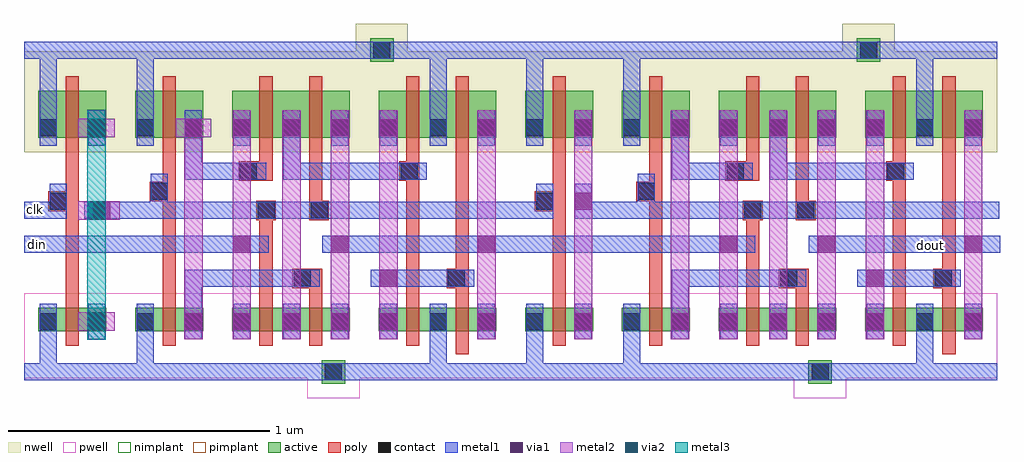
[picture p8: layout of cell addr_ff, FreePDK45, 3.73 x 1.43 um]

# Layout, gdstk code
from math import pi, radians
import gdstk
lib = gdstk.Library(unit=1e-6, precision=5e-10)
def R(c, l, rs):  # rectangles x0, y0, x1, y1
    for r in rs: c.add(gdstk.rectangle(r[:2], r[2:], *l))
active = (1, 0)
pwell = (2, 0)
nwell = (3, 0)
nimplant = (4, 0)
pimplant = (5, 0)
poly = (9, 0)
contact = (10, 0)
metal1 = (11, 0)
via1 = (12, 0)
metal2 = (13, 0)
via2 = (14, 0)
metal3 = (15, 0)

dcont_29 = lib.new_cell('dcont_29')
R(dcont_29, active, [(-0.0375,0.03,0.0375,0.105)])
R(dcont_29, contact, [(-0.0325,0.035,0.0325,0.1)])
R(dcont_29, metal1, [(-0.0325,0,0.0325,0.135)])

pmos_vtl_16 = lib.new_cell('pmos_vtl_16')
R(pmos_vtl_16, active, [(-0.105,0,0.12,0.18), (-0.105,0,-0.03,0.18), (-0.105,0,-0.03,0.18), (0.05,0,0.12,0.18)])
R(pmos_vtl_16, nwell, [(-0.16,-0.055,0.175,0.235)])
R(pmos_vtl_16, pimplant, [(-0.105,0,0.12,0.18)])
R(pmos_vtl_16, poly, [(0,-0.055,0.05,0), (0,-0.055,0.05,0.235), (0,0.18,0.05,0.235)])
pmos_vtl_16.add(gdstk.Reference(dcont_29, (-0.0675,-0.03)))
pmos_vtl_16.add(gdstk.Label('l = 0.05', (0.06,0.09), layer=239, texttype=0))
pmos_vtl_16.add(gdstk.Label('w = 0.18', (0.025,0.245), layer=239, texttype=0))

pmos_vtl_8 = lib.new_cell('pmos_vtl_8')
R(pmos_vtl_8, active, [(-0.105,0,0.155,0.18), (-0.105,0,-0.03,0.18), (-0.105,0,-0.03,0.18), (0.08,0,0.155,0.18), (0.08,0,0.155,0.18)])
R(pmos_vtl_8, nwell, [(-0.16,-0.055,0.21,0.235)])
R(pmos_vtl_8, pimplant, [(-0.105,0,0.155,0.18)])
R(pmos_vtl_8, poly, [(0,-0.055,0.05,0), (0,-0.055,0.05,0.235), (0,0.18,0.05,0.235)])
pmos_vtl_8.add(gdstk.Reference(dcont_29, (0.1175,-0.03)))
pmos_vtl_8.add(gdstk.Reference(dcont_29, (-0.0675,-0.03)))
pmos_vtl_8.add(gdstk.Label('l = 0.05', (0.06,0.09), layer=239, texttype=0))
pmos_vtl_8.add(gdstk.Label('w = 0.18', (0.025,0.245), layer=239, texttype=0))

nmos_vtl_6 = lib.new_cell('nmos_vtl_6')
R(nmos_vtl_6, active, [(-0.105,0,0.155,0.09), (-0.105,0,-0.03,0.09), (-0.105,0,-0.03,0.09), (0.08,0,0.155,0.09), (0.08,0,0.155,0.09)])
R(nmos_vtl_6, pwell, [(-0.16,-0.055,0.21,0.145)])
R(nmos_vtl_6, nimplant, [(-0.105,0,0.155,0.09)])
R(nmos_vtl_6, poly, [(0,-0.055,0.05,0), (0,-0.055,0.05,0.145), (0,0.09,0.05,0.145)])
nmos_vtl_6.add(gdstk.Reference(dcont_29, (0.1175,-0.03)))
nmos_vtl_6.add(gdstk.Reference(dcont_29, (-0.0675,-0.03)))
nmos_vtl_6.add(gdstk.Label('l = 0.05', (0.06,0.045), layer=239, texttype=0))
nmos_vtl_6.add(gdstk.Label('w = 0.09', (0.025,0.155), layer=239, texttype=0))

nmos_vtl_17 = lib.new_cell('nmos_vtl_17')
R(nmos_vtl_17, active, [(-0.105,0,0.12,0.09), (-0.105,0,-0.03,0.09), (-0.105,0,-0.03,0.09), (0.05,0,0.12,0.09)])
R(nmos_vtl_17, pwell, [(-0.16,-0.055,0.175,0.145)])
R(nmos_vtl_17, nimplant, [(-0.105,0,0.12,0.09)])
R(nmos_vtl_17, poly, [(0,-0.055,0.05,0), (0,-0.055,0.05,0.145), (0,0.09,0.05,0.145)])
nmos_vtl_17.add(gdstk.Reference(dcont_29, (-0.0675,-0.03)))
nmos_vtl_17.add(gdstk.Label('l = 0.05', (0.06,0.045), layer=239, texttype=0))
nmos_vtl_17.add(gdstk.Label('w = 0.09', (0.025,0.155), layer=239, texttype=0))

m2_m1_via = lib.new_cell('M2_M1_via')
R(m2_m1_via, metal1, [(-0.0675,-0.0325,0.0675,0.0325)])
R(m2_m1_via, via1, [(-0.0325,-0.0325,0.0325,0.0325)])
R(m2_m1_via, metal2, [(-0.035,-0.0675,0.035,0.0675)])

m3_m2_via = lib.new_cell('M3_M2_via')
R(m3_m2_via, metal2, [(-0.035,-0.07,0.035,0.07)])
R(m3_m2_via, via2, [(-0.035,-0.035,0.035,0.035)])
R(m3_m2_via, metal3, [(-0.07,-0.035,0.07,0.035)])

ntap_0 = lib.new_cell('NTAP_0')
R(ntap_0, active, [(-0.045,-0.045,0.045,0.045)])
R(ntap_0, nwell, [(-0.1,-0.1,0.1,0.1)])
R(ntap_0, nimplant, [(-0.045,-0.045,0.045,0.045)])
R(ntap_0, contact, [(-0.0325,-0.0325,0.0325,0.0325)])
R(ntap_0, metal1, [(-0.0325,-0.0675,0.0325,0.0675)])

ptap_1 = lib.new_cell('PTAP_1')
R(ptap_1, active, [(-0.045,-0.045,0.045,0.045)])
R(ptap_1, pwell, [(-0.1,-0.1,0.1,0.1)])
R(ptap_1, pimplant, [(-0.045,-0.045,0.045,0.045)])
R(ptap_1, contact, [(-0.0325,-0.0325,0.0325,0.0325)])
R(ptap_1, metal1, [(-0.0325,-0.0675,0.0325,0.0675)])

m1_poly_3 = lib.new_cell('M1_POLY_3')
R(m1_poly_3, poly, [(-0.0375,-0.0375,0.0375,0.0375)])
R(m1_poly_3, contact, [(-0.0325,-0.0325,0.0325,0.0325)])
R(m1_poly_3, metal1, [(-0.0325,-0.0675,0.0325,0.0675)])

m2_m1_4 = lib.new_cell('M2_M1_4')
R(m2_m1_4, metal1, [(-0.0325,-0.0675,0.0325,0.0675)])
R(m2_m1_4, via1, [(-0.0325,-0.0325,0.0325,0.0325)])
R(m2_m1_4, metal2, [(-0.035,-0.0675,0.035,0.0675)])

addr_ff = lib.new_cell('addr_ff')
R(addr_ff, pwell, [(0,-0.025,1.86,0.3), (1.86,-0.025,3.72,0.3)])
R(addr_ff, nwell, [(0,0.84,1.86,1.225), (1.86,0.84,3.72,1.225)])
R(addr_ff, poly, [(0.8925,0.73,0.9025,0.805), (2.7525,0.73,2.7625,0.805)])
R(addr_ff, metal1, [(0.65,-0.025,0.7225,0.025), (0.615,0.235,0.68,0.39), (2.475,0.235,2.54,0.39), (0.6225,0.325,1.13,0.39), (2.4825,0.325,2.99,0.39), (0,0.455,0.935,0.52), (1.14,0.455,1.87,0.52), (1.86,0.455,2.795,0.52), (3,0.455,3.73,0.52), (1.1825,0.585,1.8675,0.65), (3.0425,0.585,3.7275,0.65), (0.615,0.735,0.68,0.865), (0.615,0.735,0.925,0.8), (0.99,0.735,1.41,0.8), (0.99,0.735,1.055,0.8725), (2.475,0.735,2.54,0.865), (2.475,0.735,2.785,0.8), (2.85,0.735,3.27,0.8), (2.85,0.735,2.915,0.8725), (0.5425,1.21,0.6625,1.26)])
R(addr_ff, metal2, [(2.1025,0.225,2.1725,0.8775)])
R(addr_ff, metal3, [(0.2425,0.1275,0.3125,0.9925)])
addr_ff.add(gdstk.FlexPath([(2.8825,0.895),(2.8825,0.245)], 0.07, ends="flush", simple_path=True, layer=13, datatype=0))  # metal2
addr_ff.add(gdstk.FlexPath([(2.5075,0.8925),(2.5075,0.2075)], 0.07, ends="flush", simple_path=True, layer=13, datatype=0))  # metal2
addr_ff.add(gdstk.FlexPath([(2.6925,0.8925),(2.6925,0.185)], 0.07, ends="flush", simple_path=True, layer=13, datatype=0))  # metal2
addr_ff.add(gdstk.FlexPath([(0.8325,0.8925),(0.8325,0.185)], 0.07, ends="flush", simple_path=True, layer=13, datatype=0))  # metal2
addr_ff.add(gdstk.FlexPath([(1.0225,0.895),(1.0225,0.245)], 0.07, ends="flush", simple_path=True, layer=13, datatype=0))  # metal2
addr_ff.add(gdstk.FlexPath([(1.2075,0.8925),(1.2075,0.2125)], 0.07, ends="flush", simple_path=True, layer=13, datatype=0))  # metal2
addr_ff.add(gdstk.FlexPath([(3.2525,0.8925),(3.2525,0.1475)], 0.07, ends="flush", simple_path=True, layer=13, datatype=0))  # metal2
addr_ff.add(gdstk.FlexPath([(3.6275,0.8925),(3.6275,0.1475)], 0.07, ends="flush", simple_path=True, layer=13, datatype=0))  # metal2
addr_ff.add(gdstk.FlexPath([(3.0675,0.8925),(3.0675,0.2125)], 0.07, ends="flush", simple_path=True, layer=13, datatype=0))  # metal2
addr_ff.add(gdstk.FlexPath([(1.7675,0.8925),(1.7675,0.1475)], 0.07, ends="flush", simple_path=True, layer=13, datatype=0))  # metal2
addr_ff.add(gdstk.FlexPath([(0.6475,0.8925),(0.6475,0.2075)], 0.07, ends="flush", simple_path=True, layer=13, datatype=0))  # metal2
addr_ff.add(gdstk.FlexPath([(1.3925,0.8925),(1.3925,0.1475)], 0.07, ends="flush", simple_path=True, layer=13, datatype=0))  # metal2
addr_ff.add(gdstk.FlexPath([(2.3225,0.9475),(2.3225,1.2175)], 0.065, ends="flush", simple_path=True, layer=11, datatype=0))  # metal1
addr_ff.add(gdstk.FlexPath([(0.245,0.6175),(0.9,0.6175)], 0.065, ends="flush", simple_path=True, layer=11, datatype=0))  # metal1
addr_ff.add(gdstk.FlexPath([(0.0925,0.88),(0.0925,1.225)], 0.065, ends="flush", simple_path=True, layer=11, datatype=0))  # metal1
addr_ff.add(gdstk.FlexPath([(0.0925,-0.0325),(0.0925,0.215)], 0.065, ends="flush", simple_path=True, layer=11, datatype=0))  # metal1
addr_ff.add(gdstk.FlexPath([(0.4625,0.9475),(0.4625,1.2175)], 0.065, ends="flush", simple_path=True, layer=11, datatype=0))  # metal1
addr_ff.add(gdstk.FlexPath([(0.9575,0.6175),(1.105,0.6175)], 0.065, ends="flush", simple_path=True, layer=11, datatype=0))  # metal1
addr_ff.add(gdstk.FlexPath([(0.4625,-0.01),(0.4625,0.26)], 0.065, ends="flush", simple_path=True, layer=11, datatype=0))  # metal1
addr_ff.add(gdstk.FlexPath([(0.43,1.23),(1.86,1.23)], 0.065, ends="flush", simple_path=True, layer=11, datatype=0))  # metal1
addr_ff.add(gdstk.FlexPath([(1.6,0.3575),(1.36,0.3575)], 0.065, ends="flush", simple_path=True, layer=11, datatype=0))  # metal1
addr_ff.add(gdstk.FlexPath([(0,0),(1.86,0)], 0.065, ends="flush", simple_path=True, layer=11, datatype=0))  # metal1
addr_ff.add(gdstk.FlexPath([(1.5825,-0.01),(1.5825,0.26)], 0.065, ends="flush", simple_path=True, layer=11, datatype=0))  # metal1
addr_ff.add(gdstk.FlexPath([(2.8175,0.6175),(2.965,0.6175)], 0.065, ends="flush", simple_path=True, layer=11, datatype=0))  # metal1
addr_ff.add(gdstk.FlexPath([(3.4425,0.9475),(3.4425,1.2175)], 0.065, ends="flush", simple_path=True, layer=11, datatype=0))  # metal1
addr_ff.add(gdstk.FlexPath([(2.29,1.23),(1.86,1.23)], 0.065, ends="flush", simple_path=True, layer=11, datatype=0))  # metal1
addr_ff.add(gdstk.FlexPath([(1.86,0),(3.72,0)], 0.065, ends="flush", simple_path=True, layer=11, datatype=0))  # metal1
addr_ff.add(gdstk.FlexPath([(2.105,0.6175),(2.76,0.6175)], 0.065, ends="flush", simple_path=True, layer=11, datatype=0))  # metal1
addr_ff.add(gdstk.FlexPath([(1.86,0),(3.72,0)], 0.065, ends="flush", simple_path=True, layer=11, datatype=0))  # metal1
addr_ff.add(gdstk.FlexPath([(1.9525,0.88),(1.9525,1.225)], 0.065, ends="flush", simple_path=True, layer=11, datatype=0))  # metal1
addr_ff.add(gdstk.FlexPath([(0.43,1.23),(0,1.23)], 0.065, ends="flush", simple_path=True, layer=11, datatype=0))  # metal1
addr_ff.add(gdstk.FlexPath([(1.86,0.6175),(2.0225,0.6175)], 0.065, ends="flush", simple_path=True, layer=11, datatype=0))  # metal1
addr_ff.add(gdstk.FlexPath([(1.9525,-0.0325),(1.9525,0.215)], 0.065, ends="flush", simple_path=True, layer=11, datatype=0))  # metal1
addr_ff.add(gdstk.FlexPath([(2.3225,-0.01),(2.3225,0.26)], 0.065, ends="flush", simple_path=True, layer=11, datatype=0))  # metal1
addr_ff.add(gdstk.FlexPath([(1.5825,0.9475),(1.5825,1.2175)], 0.065, ends="flush", simple_path=True, layer=11, datatype=0))  # metal1
addr_ff.add(gdstk.FlexPath([(0,0),(1.86,0)], 0.065, ends="flush", simple_path=True, layer=11, datatype=0))  # metal1
addr_ff.add(gdstk.FlexPath([(3.46,0.3575),(3.22,0.3575)], 0.065, ends="flush", simple_path=True, layer=11, datatype=0))  # metal1
addr_ff.add(gdstk.FlexPath([(3.4425,-0.01),(3.4425,0.26)], 0.065, ends="flush", simple_path=True, layer=11, datatype=0))  # metal1
addr_ff.add(gdstk.FlexPath([(2.29,1.23),(3.72,1.23)], 0.065, ends="flush", simple_path=True, layer=11, datatype=0))  # metal1
addr_ff.add(gdstk.FlexPath([(0,0.6175),(0.1625,0.6175)], 0.065, ends="flush", simple_path=True, layer=11, datatype=0))  # metal1
addr_ff.add(gdstk.FlexPath([(2.785,0.2525),(2.785,0.64)], 0.05, ends="flush", simple_path=True, layer=9, datatype=0))  # poly
addr_ff.add(gdstk.FlexPath([(2.045,0.855),(2.045,0.285)], 0.05, ends="flush", simple_path=True, layer=9, datatype=0))  # poly
addr_ff.add(gdstk.FlexPath([(0.555,0.855),(0.555,0.2825)], 0.05, ends="flush", simple_path=True, layer=9, datatype=0))  # poly
addr_ff.add(gdstk.FlexPath([(1.485,0.855),(1.485,0.1075)], 0.05, ends="flush", simple_path=True, layer=9, datatype=0))  # poly
addr_ff.add(gdstk.FlexPath([(0.925,0.85),(0.925,0.73)], 0.05, ends="flush", simple_path=True, layer=9, datatype=0))  # poly
addr_ff.add(gdstk.FlexPath([(0.185,0.855),(0.185,0.285)], 0.05, ends="flush", simple_path=True, layer=9, datatype=0))  # poly
addr_ff.add(gdstk.FlexPath([(1.115,0.285),(1.115,0.395)], 0.05, ends="flush", simple_path=True, layer=9, datatype=0))  # poly
addr_ff.add(gdstk.FlexPath([(2.975,0.855),(2.975,0.6)], 0.05, ends="flush", simple_path=True, layer=9, datatype=0))  # poly
addr_ff.add(gdstk.FlexPath([(2.415,0.855),(2.415,0.2825)], 0.05, ends="flush", simple_path=True, layer=9, datatype=0))  # poly
addr_ff.add(gdstk.FlexPath([(3.535,0.855),(3.535,0.0675)], 0.05, ends="flush", simple_path=True, layer=9, datatype=0))  # poly
addr_ff.add(gdstk.FlexPath([(1.675,0.855),(1.675,0.0675)], 0.05, ends="flush", simple_path=True, layer=9, datatype=0))  # poly
addr_ff.add(gdstk.FlexPath([(1.115,0.855),(1.115,0.6)], 0.05, ends="flush", simple_path=True, layer=9, datatype=0))  # poly
addr_ff.add(gdstk.FlexPath([(0.925,0.2525),(0.925,0.64)], 0.05, ends="flush", simple_path=True, layer=9, datatype=0))  # poly
addr_ff.add(gdstk.FlexPath([(2.975,0.285),(2.975,0.395)], 0.05, ends="flush", simple_path=True, layer=9, datatype=0))  # poly
addr_ff.add(gdstk.FlexPath([(2.785,0.85),(2.785,0.73)], 0.05, ends="flush", simple_path=True, layer=9, datatype=0))  # poly
addr_ff.add(gdstk.FlexPath([(3.345,0.855),(3.345,0.1075)], 0.05, ends="flush", simple_path=True, layer=9, datatype=0))  # poly
addr_ff.add(gdstk.Reference(pmos_vtl_16, (3.32,0.895)))
addr_ff.add(gdstk.Reference(pmos_vtl_16, (1.46,0.895)))
addr_ff.add(gdstk.Reference(pmos_vtl_16, (2.76,0.895)))
addr_ff.add(gdstk.Reference(pmos_vtl_16, (0.9,0.895)))
addr_ff.add(gdstk.Reference(pmos_vtl_8, (0.16,0.895)))
addr_ff.add(gdstk.Reference(pmos_vtl_8, (2.02,0.895)))
addr_ff.add(gdstk.Reference(pmos_vtl_8, (1.65,0.895)))
addr_ff.add(gdstk.Reference(pmos_vtl_8, (1.09,0.895)))
addr_ff.add(gdstk.Reference(pmos_vtl_8, (0.53,0.895)))
addr_ff.add(gdstk.Reference(pmos_vtl_8, (3.51,0.895)))
addr_ff.add(gdstk.Reference(pmos_vtl_8, (2.95,0.895)))
addr_ff.add(gdstk.Reference(pmos_vtl_8, (2.39,0.895)))
addr_ff.add(gdstk.Reference(nmos_vtl_6, (0.16,0.155)))
addr_ff.add(gdstk.Reference(nmos_vtl_6, (3.51,0.155)))
addr_ff.add(gdstk.Reference(nmos_vtl_6, (2.95,0.155)))
addr_ff.add(gdstk.Reference(nmos_vtl_6, (0.53,0.155)))
addr_ff.add(gdstk.Reference(nmos_vtl_6, (1.65,0.155)))
addr_ff.add(gdstk.Reference(nmos_vtl_6, (1.09,0.155)))
addr_ff.add(gdstk.Reference(nmos_vtl_6, (2.02,0.155)))
addr_ff.add(gdstk.Reference(nmos_vtl_6, (2.39,0.155)))
addr_ff.add(gdstk.Reference(nmos_vtl_17, (2.76,0.155)))
addr_ff.add(gdstk.Reference(nmos_vtl_17, (3.32,0.155)))
addr_ff.add(gdstk.Reference(nmos_vtl_17, (0.9,0.155)))
addr_ff.add(gdstk.Reference(nmos_vtl_17, (1.46,0.155)))
addr_ff.add(gdstk.Reference(m2_m1_via, (0.2775,0.1925), rotation=pi/2))
addr_ff.add(gdstk.Reference(m2_m1_via, (0.2775,0.9325), rotation=pi/2))
addr_ff.add(gdstk.Reference(m2_m1_via, (2.6925,0.4875)))
addr_ff.add(gdstk.Reference(m2_m1_via, (3.0675,0.4875)))
addr_ff.add(gdstk.Reference(m2_m1_via, (1.2075,0.4875)))
addr_ff.add(gdstk.Reference(m2_m1_via, (1.3925,0.3575)))
addr_ff.add(gdstk.Reference(m2_m1_via, (1.7675,0.4875)))
addr_ff.add(gdstk.Reference(m2_m1_via, (0.8325,0.4875)))
addr_ff.add(gdstk.Reference(m2_m1_via, (3.2525,0.3575)))
addr_ff.add(gdstk.Reference(m2_m1_via, (3.6275,0.4875)))
addr_ff.add(gdstk.Reference(m2_m1_via, (0.6475,0.9325), rotation=pi/2))
addr_ff.add(gdstk.Reference(m3_m2_via, (0.2775,0.6175), rotation=pi/2))
addr_ff.add(gdstk.Reference(m3_m2_via, (0.2775,0.9325), rotation=3*pi/2))
addr_ff.add(gdstk.Reference(m3_m2_via, (0.2775,0.1925), rotation=3*pi/2))
addr_ff.add(gdstk.Reference(ntap_0, (1.3675,1.23), rotation=3*pi/2))
addr_ff.add(gdstk.Reference(ntap_0, (3.2275,1.23), rotation=3*pi/2))
addr_ff.add(gdstk.Reference(ptap_1, (1.1825,0), rotation=3*pi/2))
addr_ff.add(gdstk.Reference(ptap_1, (3.0425,0), rotation=3*pi/2))
addr_ff.add(gdstk.Reference(m1_poly_3, (1.6525,0.3575), rotation=3*pi/2))
addr_ff.add(gdstk.Reference(m1_poly_3, (0.925,0.6175), rotation=pi/2))
addr_ff.add(gdstk.Reference(m1_poly_3, (1.0625,0.3575), rotation=3*pi/2))
addr_ff.add(gdstk.Reference(m1_poly_3, (1.1275,0.6175), rotation=3*pi/2))
addr_ff.add(gdstk.Reference(m1_poly_3, (0.8575,0.7675), rotation=3*pi/2))
addr_ff.add(gdstk.Reference(m1_poly_3, (3.5125,0.3575), rotation=3*pi/2))
addr_ff.add(gdstk.Reference(m1_poly_3, (0.13,0.6525)))
addr_ff.add(gdstk.Reference(m1_poly_3, (2.785,0.6175), rotation=pi/2))
addr_ff.add(gdstk.Reference(m1_poly_3, (2.7175,0.7675), rotation=3*pi/2))
addr_ff.add(gdstk.Reference(m1_poly_3, (2.9225,0.3575), rotation=3*pi/2))
addr_ff.add(gdstk.Reference(m1_poly_3, (2.9875,0.6175), rotation=3*pi/2))
addr_ff.add(gdstk.Reference(m1_poly_3, (1.4725,0.7675), rotation=3*pi/2))
addr_ff.add(gdstk.Reference(m1_poly_3, (0.5175,0.69), rotation=pi))
addr_ff.add(gdstk.Reference(m1_poly_3, (1.99,0.6525)))
addr_ff.add(gdstk.Reference(m1_poly_3, (2.3775,0.69), rotation=pi))
addr_ff.add(gdstk.Reference(m1_poly_3, (3.3325,0.7675), rotation=3*pi/2))
addr_ff.add(gdstk.Reference(m2_m1_4, (1.2075,0.1925)))
addr_ff.add(gdstk.Reference(m2_m1_4, (1.0225,0.1925)))
addr_ff.add(gdstk.Reference(m2_m1_4, (0.8325,0.1925)))
addr_ff.add(gdstk.Reference(m2_m1_4, (2.5075,0.9325)))
addr_ff.add(gdstk.Reference(m2_m1_4, (0.6475,0.1925)))
addr_ff.add(gdstk.Reference(m2_m1_4, (2.8825,0.9325)))
addr_ff.add(gdstk.Reference(m2_m1_4, (2.1375,0.6525)))
addr_ff.add(gdstk.Reference(m2_m1_4, (2.5075,0.1925)))
addr_ff.add(gdstk.Reference(m2_m1_4, (2.6925,0.1925)))
addr_ff.add(gdstk.Reference(m2_m1_4, (2.8825,0.1925)))
addr_ff.add(gdstk.Reference(m2_m1_4, (3.0675,0.1925)))
addr_ff.add(gdstk.Reference(m2_m1_4, (2.6925,0.9325)))
addr_ff.add(gdstk.Reference(m2_m1_4, (1.7675,0.9325)))
addr_ff.add(gdstk.Reference(m2_m1_4, (1.7675,0.1925)))
addr_ff.add(gdstk.Reference(m2_m1_4, (1.3925,0.1925)))
addr_ff.add(gdstk.Reference(m2_m1_4, (1.3925,0.9325)))
addr_ff.add(gdstk.Reference(m2_m1_4, (3.2525,0.1925)))
addr_ff.add(gdstk.Reference(m2_m1_4, (3.6275,0.1925)))
addr_ff.add(gdstk.Reference(m2_m1_4, (3.6275,0.9325)))
addr_ff.add(gdstk.Reference(m2_m1_4, (3.2525,0.9325)))
addr_ff.add(gdstk.Reference(m2_m1_4, (3.0675,0.9325)))
addr_ff.add(gdstk.Reference(m2_m1_4, (2.1375,0.1925)))
addr_ff.add(gdstk.Reference(m2_m1_4, (0.8325,0.9325)))
addr_ff.add(gdstk.Reference(m2_m1_4, (1.0225,0.9325)))
addr_ff.add(gdstk.Reference(m2_m1_4, (0.2975,0.6175), rotation=pi/2))
addr_ff.add(gdstk.Reference(m2_m1_4, (1.2075,0.9325)))
addr_ff.add(gdstk.Reference(m2_m1_4, (2.1375,0.9325)))
addr_ff.add(gdstk.Label('din', (0.05,0.4875), layer=11, texttype=0))
addr_ff.add(gdstk.Label('clk', (0.045,0.62), layer=11, texttype=0))
addr_ff.add(gdstk.Label('dout', (3.4625,0.485), layer=11, texttype=0))

lib.write_gds('addr_ff.gds')
